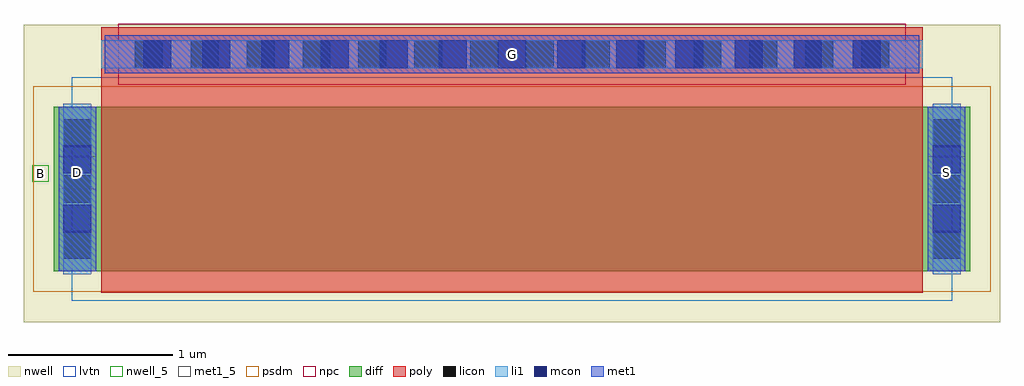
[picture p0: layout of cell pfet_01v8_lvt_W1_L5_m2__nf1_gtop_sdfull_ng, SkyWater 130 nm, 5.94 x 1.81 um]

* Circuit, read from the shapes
.subckt pfet_01v8_lvt_W1_L5_m2__nf1_gtop_sdfull_ng B D G S
XM1 S G D B sky130_fd_pr__pfet_01v8_lvt w=1 l=5
.ends

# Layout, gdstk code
import gdstk
lib = gdstk.Library(unit=1e-6, precision=1e-09)
def R(c, l, rs):  # rectangles x0, y0, x1, y1
    for r in rs: c.add(gdstk.rectangle(r[:2], r[2:], *l))
def A(c, l, x, y, w, h, nx, ny, dx, dy):  # array of equal rectangles
    R(c, l, [(x+i*dx, y+j*dy, x+i*dx+w, y+j*dy+h) for i in range(nx) for j in range(ny)])
nwell_5 = (64, 5)
nwell = (64, 20)
diff = (65, 20)
poly = (66, 20)
licon = (66, 44)
li1 = (67, 20)
mcon = (67, 44)
met1_5 = (68, 5)
met1 = (68, 20)
psdm = (94, 20)
npc = (95, 20)
lvtn = (125, 44)

sky130_fd_pr__pfet_01v8_ = lib.new_cell('sky130_fd_pr__pfet_01v8_lvt_G794LM')
R(sky130_fd_pr__pfet_01v8_, nwell, [(-2.97,-0.99,2.97,0.82)])
R(sky130_fd_pr__pfet_01v8_, diff, [(-2.79,-0.68,2.79,0.32)])
R(sky130_fd_pr__pfet_01v8_, poly, [(-2.5,-0.81,2.5,0.805)])
A(sky130_fd_pr__pfet_01v8_, licon, -2.73, -0.605, 0.17, 0.17, 1, 3, 0, 0.34)
A(sky130_fd_pr__pfet_01v8_, licon, 2.56, -0.605, 0.17, 0.17, 1, 3, 0, 0.34)
A(sky130_fd_pr__pfet_01v8_, licon, -2.295, 0.555, 0.17, 0.17, 14, 1, 0.34, 0)
R(sky130_fd_pr__pfet_01v8_, li1, [(-2.73,-0.7,-2.56,0.34), (2.56,-0.7,2.73,0.34), (-2.5,0.555,2.5,0.725)])
A(sky130_fd_pr__pfet_01v8_, mcon, -2.245, 0.555, 0.17, 0.17, 13, 1, 0.36, 0)
R(sky130_fd_pr__pfet_01v8_, mcon, [(-2.73,-0.445,-2.56,-0.275), (2.56,-0.445,2.73,-0.275), (-2.73,-0.085,-2.56,0.085), (2.56,-0.085,2.73,0.085)])
R(sky130_fd_pr__pfet_01v8_, met1, [(-2.76,-0.68,-2.53,0.32), (2.53,-0.68,2.76,0.32), (-2.48,0.525,2.48,0.755)])
R(sky130_fd_pr__pfet_01v8_, psdm, [(-2.915,-0.805,2.915,0.445)])
R(sky130_fd_pr__pfet_01v8_, npc, [(-2.395,0.455,2.395,0.825)])
R(sky130_fd_pr__pfet_01v8_, lvtn, [(-2.68,-0.86,2.68,0.5)])
sky130_fd_pr__pfet_01v8_.add(gdstk.Label('D', (-2.645,-0.18), layer=67, texttype=5))
sky130_fd_pr__pfet_01v8_.add(gdstk.Label('S', (2.645,-0.18), layer=67, texttype=5))
sky130_fd_pr__pfet_01v8_.add(gdstk.Label('G', (0,0.64), layer=67, texttype=5))

pfet_01v8_lvt_w1_l5_m2__ = lib.new_cell('pfet_01v8_lvt_W1_L5_m2__nf1_gtop_sdfull_ng')
R(pfet_01v8_lvt_w1_l5_m2__, nwell_5, [(0.05,0.855,0.15,0.955)])
R(pfet_01v8_lvt_w1_l5_m2__, nwell, [(0.05,0.855,0.15,0.955)])
R(pfet_01v8_lvt_w1_l5_m2__, met1_5, [(0.21,0.81,0.44,1.01), (5.5,0.81,5.73,1.01), (0.49,1.515,5.45,1.745)])
R(pfet_01v8_lvt_w1_l5_m2__, met1, [(0.21,0.81,0.44,1.01), (5.5,0.81,5.73,1.01), (0.49,1.515,5.45,1.745)])
pfet_01v8_lvt_w1_l5_m2__.add(gdstk.Reference(sky130_fd_pr__pfet_01v8_, (2.97,0.99)))
pfet_01v8_lvt_w1_l5_m2__.add(gdstk.Label('D', (0.325,0.91), layer=68, texttype=5))
pfet_01v8_lvt_w1_l5_m2__.add(gdstk.Label('S', (5.615,0.91), layer=68, texttype=5))
pfet_01v8_lvt_w1_l5_m2__.add(gdstk.Label('G', (2.97,1.63), layer=68, texttype=5))
pfet_01v8_lvt_w1_l5_m2__.add(gdstk.Label('B', (0.1,0.905), layer=64, texttype=5))

lib.write_gds('pfet_01v8_lvt_W1_L5_m2__nf1_gtop_sdfull_ng.gds')
